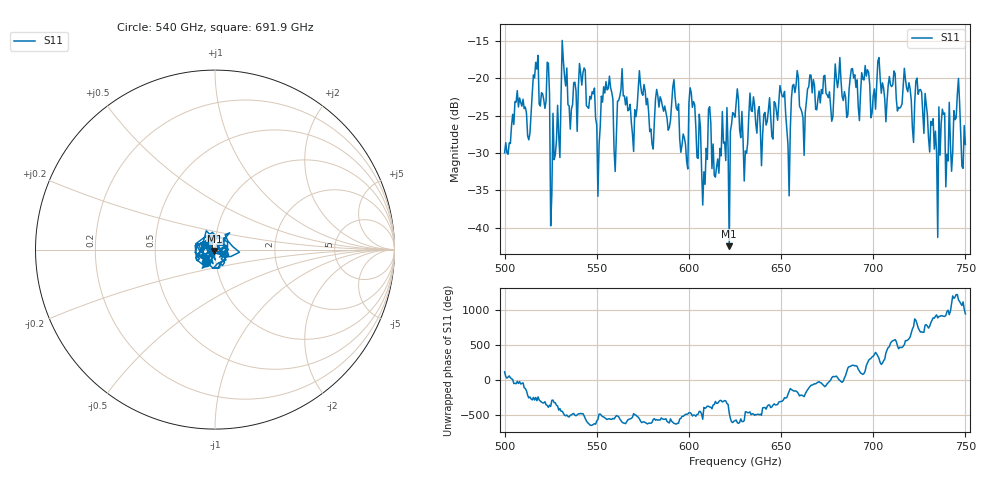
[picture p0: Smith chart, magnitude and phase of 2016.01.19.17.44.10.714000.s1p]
!Created with skrf (http://scikit-rf.org).
# GHz S RI R 50.0
!freq ReS11 ImS11
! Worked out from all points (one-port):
!   401 points, 500 GHz to 750 GHz, reference 50 ohm
!   lowest |S11| = -42.5 dB at 621.9 GHz (marker M1), VSWR 1.02, Z = 49.7 - j0.683 ohm
!   |S11| at or under -10 dB: start of sweep to end of sweep
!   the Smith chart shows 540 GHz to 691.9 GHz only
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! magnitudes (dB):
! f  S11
! 500 GHz  -30.0
! 506.9 GHz  -21.7
! 513.1 GHz  -28.2
! 516.9 GHz  -17.9
! 523.1 GHz  -17.9
! 526.2 GHz  -24.7
! 531.2 GHz  -15.0
! 542.5 GHz  -19.3
! 550.6 GHz  -35.8
! 553.8 GHz  -21.2
! 562.5 GHz  -22.4
! 593.8 GHz  -24.3
! 598.1 GHz  -28.8
! 601.9 GHz  -23.9
! 608.1 GHz  -32.5
! 610.6 GHz  -24.2
! 621.9 GHz  -42.5
! 625 GHz  -25.2
! 630.6 GHz  -29.7
! 634.4 GHz  -24.5
! 650.6 GHz  -22.5
! 653.8 GHz  -28.9
! 656.2 GHz  -21.0
! 687.5 GHz  -20.0
! 718.8 GHz  -21.8
! 733.8 GHz  -27.1
! 745.6 GHz  -22.2
! 750 GHz  -28.9
